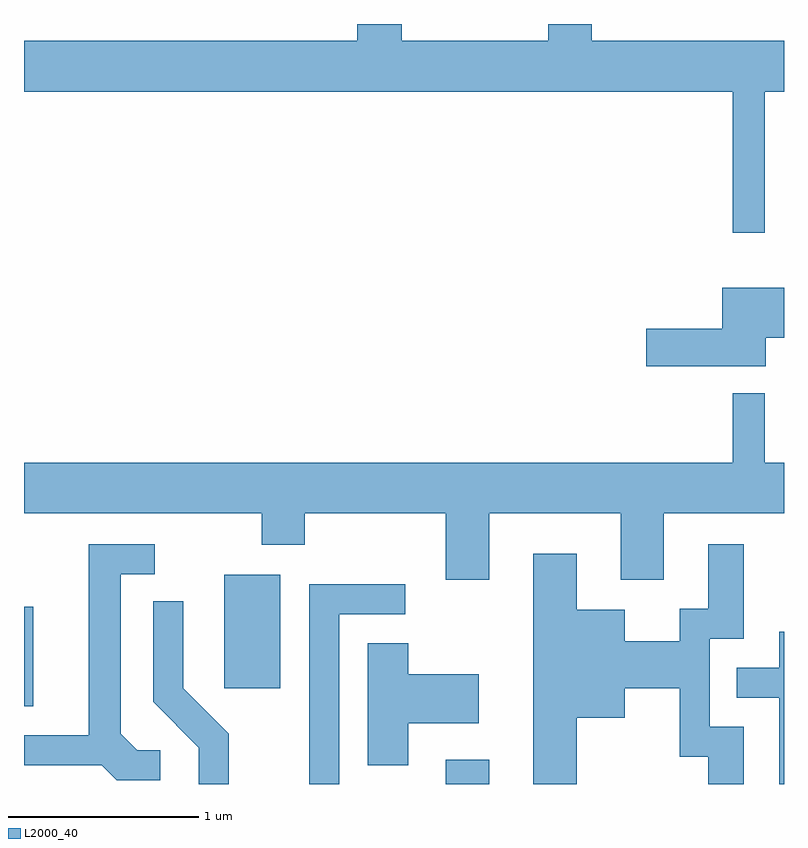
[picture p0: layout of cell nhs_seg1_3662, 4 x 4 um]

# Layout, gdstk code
import gdstk
lib = gdstk.Library(unit=1e-6, precision=1e-09)
def R(c, l, rs):  # rectangles x0, y0, x1, y1
    for r in rs: c.add(gdstk.rectangle(r[:2], r[2:], *l))
def P(c, l, *ps):  # polygons
    for p in ps: c.add(gdstk.Polygon(p, *l))
L2000_40 = (2000, 40)

nhs_seg1_3662 = lib.new_cell('nhs_seg1_3662')
R(nhs_seg1_3662, L2000_40, [(297.831,893.712,298.059,893.839), (295.611,894.121,295.659,894.644), (296.666,894.216,296.959,894.814)])
P(nhs_seg1_3662, L2000_40, [(299.509,897.356),(299.611,897.356),(299.611,897.624),(298.599,897.624),(298.599,897.712),(298.371,897.712),(298.371,897.624),(297.599,897.624),(297.599,897.712),(297.366,897.712),(297.366,897.624),(295.611,897.624),(295.611,897.356),(299.341,897.356),(299.341,896.613),(299.509,896.613)],
  [(299.514,896.061),(299.611,896.061),(299.611,896.324),(299.286,896.324),(299.286,896.109),(298.886,896.109),(298.886,895.911),(299.514,895.911)],
  [(298.059,895.136),(298.751,895.136),(298.751,894.786),(298.979,894.786),(298.979,895.136),(299.611,895.136),(299.611,895.404),(299.509,895.404),(299.509,895.768),(299.341,895.768),(299.341,895.404),(295.611,895.404),(295.611,895.136),(296.861,895.136),(296.861,894.971),(297.089,894.971),(297.089,895.136),(297.831,895.136),(297.831,894.786),(298.059,894.786)],
  [(296.328,893.889),(296.207,893.889),(296.119,893.977),(296.119,894.816),(296.298,894.816),(296.298,894.974),(295.951,894.974),(295.951,893.969),(295.611,893.969),(295.611,893.811),(296.019,893.811),(296.099,893.731),(296.328,893.731)],
  [(298.519,894.061),(298.774,894.061),(298.774,894.216),(299.061,894.216),(299.061,893.856),(299.211,893.856),(299.211,893.712),(299.399,893.712),(299.399,894.014),(299.219,894.014),(299.219,894.476),(299.399,894.476),(299.399,894.974),(299.211,894.974),(299.211,894.634),(299.061,894.634),(299.061,894.464),(298.774,894.464),(298.774,894.629),(298.519,894.629),(298.519,894.924),(298.291,894.924),(298.291,893.712),(298.519,893.712)],
  [(297.269,894.606),(297.618,894.606),(297.618,894.764),(297.111,894.764),(297.111,893.712),(297.269,893.712)],
  [(296.689,893.977),(296.449,894.217),(296.449,894.673),(296.291,894.673),(296.291,894.144),(296.531,893.904),(296.531,893.712),(296.689,893.712)],
  [(299.611,894.514),(299.586,894.514),(299.586,894.324),(299.363,894.324),(299.363,894.166),(299.586,894.166),(299.586,893.712),(299.611,893.712)],
  [(297.634,894.031),(298.004,894.031),(298.004,894.289),(297.634,894.289),(297.634,894.454),(297.421,894.454),(297.421,893.811),(297.634,893.811)])

lib.write_gds('nhs_seg1_3662.gds')
